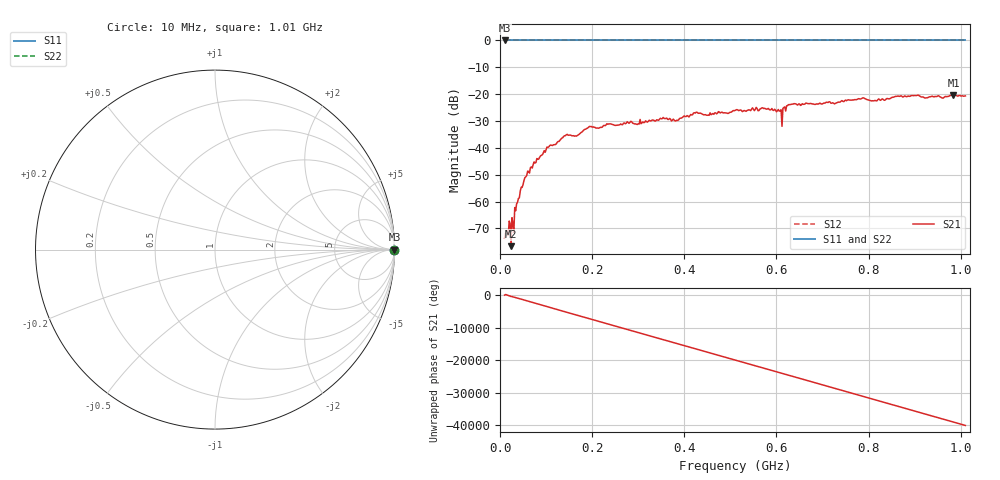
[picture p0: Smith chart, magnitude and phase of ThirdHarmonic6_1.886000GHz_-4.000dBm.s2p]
! 8/16/2025 10:46:37 PM
! C:\ANRITSUVNA\TEMP\TEMP.S2P
! CHANNEL.1
! TR.MEASUREMENT
! RAW.DATA
! RF.CORRECTION.OFF
! AVERAGING.OFF
! IF.BANDWIDTH: 5KHZ
! SWEEPTYPE:  FREQ.SWEEP(Linear)
! Reference Plane Port Info
! PORT:  PORT1  PORT2
! DISTANCE:  0  m  0  m
! TIME:  0  s  0  s
! PHASE.OFFSET:  0  deg.  0  deg.
! LOSS:  0  dB  0  dB
! REF.LOSS:  0  dB  0  dB
! REF.FREQ:  0  Hz  0  Hz
! Power Info
! POWER:  -20  dBm  -20  dBm
! EFF.POWER:  -20  dBm  -20  dBm
! SOURCE.ATTEN:  0  dB  0  dB
! TEST.ATTEN:  0  dB  0  dB
# GHZ S RI R 50.0
! FREQ.GHZ  S11RE  S11IM  S21RE  S21IM  S12RE  S12IM  S22RE  S22IM
!; PortSelection: Port_12
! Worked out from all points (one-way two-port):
!   501 points, 10 MHz to 1.01 GHz, reference 50 ohm
!   highest |S21| = -20.28 dB at 984 MHz (marker M1); lowest = -76.6 dB at 24 MHz (marker M2)
!   lowest |S11| = 0.0 dB at 10 MHz (marker M3)
!   |S11| at or under -10 dB: nowhere
!   |S22| runs from 0.0 to 0.0 dB; largest |S21 - S12| = 1.1
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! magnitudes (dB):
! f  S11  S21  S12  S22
! 10 MHz  0.0  -73.7  0.0  0.0
! 24 MHz  0.0  -76.6  0.0  0.0
! 28 MHz  0.0  -68.1  0.0  0.0
! 36 MHz  0.0  -60.9  0.0  0.0
! 50 MHz  0.0  -53.7  0.0  0.0
! 76 MHz  0.0  -45.6  0.0  0.0
! 106 MHz  0.0  -39.6  0.0  0.0
! 142 MHz  0.0  -35.4  0.0  0.0
! 178 MHz  0.0  -34.1  0.0  0.0
! 196 MHz  0.0  -32.1  0.0  0.0
! 344 MHz  0.0  -29.7  0.0  0.0
! 384 MHz  0.0  -29.7  0.0  0.0
! 424 MHz  0.0  -27.0  0.0  0.0
! 450 MHz  0.0  -27.9  0.0  0.0
! 510 MHz  0.0  -26.1  0.0  0.0
! 572 MHz  0.0  -25.3  0.0  0.0
! 608 MHz  0.0  -26.2  0.0  0.0
! 630 MHz  0.0  -23.9  0.0  0.0
! 678 MHz  0.0  -23.6  0.0  0.0
! 844 MHz  0.0  -21.8  0.0  0.0
! 984 MHz  0.0  -20.3  0.0  0.0
! 1.01 GHz  0.0  -20.6  0.0  0.0
